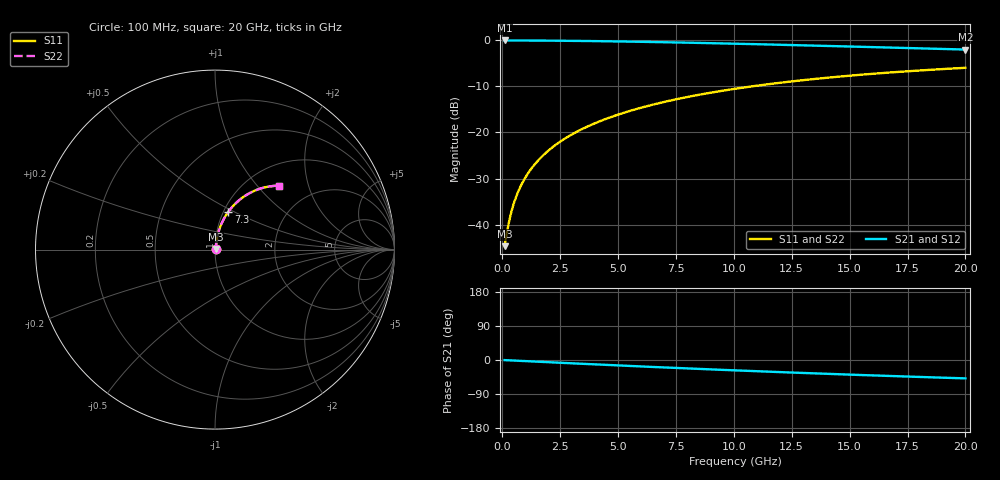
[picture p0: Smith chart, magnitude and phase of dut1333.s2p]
! Touchstone file exported from HFSS 2024.1.0
!  File:  C:/UserFiles/LocalFiles/RDL_TSV_Batchsim/temp_RDL_top_1333_1780365477.aedt
!  Generated:  10:00:19 AM Jun  2, 2026
!  Design:  RDL_top
!  Project:  temp_RDL_top_1333_1780365477
!  Setup:  Setup1
!  Solution:  Sweep
! Variables:
!  dtsv = 10.80580581um
!  hbump = 3um
!  htsv = 83.3um
!  ldown = 100um
!  lrdl = 676.6um
!  p = 40
!  p1 = 44.52um
!  rhole = 1um
!  t = 450um
!  tdown = 3.915915916um
!  trdl = 4.31um
!  wdown = 15.38538539um
!  wrdl = 11.59um
# GHz S MA R 50.000000
! Terminal data exported
! Port[1] = Box2_T1
! Port[2] = Box2_T2
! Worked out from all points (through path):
!   200 points, 100 MHz to 20 GHz, reference 50 ohm
!   highest |S21| = -0.04 dB at 100 MHz (marker M1); lowest = -2.0 dB at 20 GHz (marker M2)
!   group delay of S21, straight-line fit = 6.73 ps
!   lowest |S11| = -44.7 dB at 100 MHz (marker M3), VSWR 1.01, Z = 50.5 + j0.333 ohm
!   |S11| at or under -10 dB: start of sweep to 10.78 GHz
!   |S22| runs from -44.7 to -6.0 dB; largest |S21 - S12| = 1.1e-14
!   S11 on the Smith chart (normalised r, x): 100 MHz: 1.01, +0.01; 7.3 GHz: 1.05, +0.47; 20 GHz: 1.38, +1.31
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0.1  0.005842 34.4  0.9952 -0.3  0.9952 -0.3  0.005842 34.4
! Gamma 0 0 0 0
! Port Impedance 50 0 50 0
0.2  0.008218 53.1  0.9951 -0.6  0.9951 -0.6  0.008218 53.1
0.3  0.01105 62.5  0.9949 -0.9  0.9949 -0.9  0.01105 62.5
0.4  0.01403 67.9  0.9948 -1.2  0.9948 -1.2  0.01403 67.9
0.5  0.01707 71.2  0.9946 -1.5  0.9946 -1.5  0.01707 71.2
0.6  0.02014 73.5  0.9944 -1.8  0.9944 -1.8  0.02014 73.5
0.8  0.02633 76.3  0.994 -2.4  0.994 -2.4  0.02633 76.3
1.1  0.03568 78.5  0.9934 -3.2  0.9934 -3.2  0.03568 78.5
1.5  0.0482 79.7  0.9923 -4.4  0.9923 -4.4  0.0482 79.7
1.8  0.0576 80.0  0.9913 -5.3  0.9913 -5.3  0.0576 80.0
2.1  0.067 80.0  0.9901 -6.1  0.9901 -6.1  0.067 80.0
2.7  0.08572 79.5  0.9873 -7.9  0.9873 -7.9  0.08573 79.5
3.5  0.1105 78.3  0.9826 -10.1  0.9826 -10.1  0.1105 78.3
4.2  0.1319 77.0  0.9778 -12.1  0.9778 -12.1  0.1319 77.0
5  0.1561 75.4  0.9714 -14.3  0.9714 -14.3  0.1561 75.4
6.8  0.2089 71.7  0.9546 -19.2  0.9546 -19.2  0.2089 71.7
7.3  0.2231 70.6  0.9494 -20.5  0.9494 -20.5  0.2231 70.6
8.6  0.2592 67.8  0.935 -23.8  0.935 -23.8  0.2592 67.8
10.1  0.299 64.6  0.9174 -27.5  0.9174 -27.5  0.299 64.6
13.4  0.3785 57.6  0.876 -35.1  0.876 -35.1  0.3785 57.6
16.7  0.4464 51.1  0.8339 -42.1  0.8339 -42.1  0.4464 51.1
20  0.5027 45.1  0.793 -48.5  0.793 -48.5  0.5027 45.1
